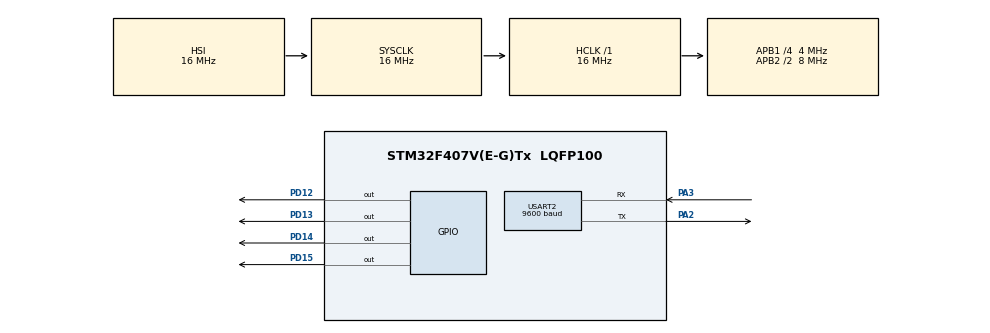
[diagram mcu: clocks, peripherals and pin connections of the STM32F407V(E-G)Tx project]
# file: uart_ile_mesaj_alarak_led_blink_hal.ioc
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Mcu.Family=STM32F4
Mcu.Name=STM32F407V(E-G)Tx
Mcu.Package=LQFP100
NVIC.PriorityGroup=NVIC_PRIORITYGROUP_0
PA2.Mode=Asynchronous
PA2.Signal=USART2_TX
PA3.Mode=Asynchronous
PA3.Signal=USART2_RX
PD12.Signal=GPIO_Output
PD13.Signal=GPIO_Output
PD14.Signal=GPIO_Output
PD15.Signal=GPIO_Output
ProjectManager.HeapSize=0x200
ProjectManager.StackSize=0x400
ProjectManager.TargetToolchain=STM32CubeIDE
RCC.48MHZClocksFreq_Value=14285714.285714285
RCC.AHBFreq_Value=16000000
RCC.APB1CLKDivider=RCC_HCLK_DIV4
RCC.APB1Freq_Value=4000000
RCC.APB1TimFreq_Value=8000000
RCC.APB2CLKDivider=RCC_HCLK_DIV2
RCC.APB2Freq_Value=8000000
RCC.APB2TimFreq_Value=16000000
RCC.CortexFreq_Value=16000000
RCC.HCLKFreq_Value=16000000
RCC.HSE_VALUE=8000000
RCC.HSI_VALUE=16000000
RCC.PLLM=8
RCC.PLLN=50
RCC.PLLQ=7
RCC.SYSCLKFreq_VALUE=16000000
RCC.VCOOutputFreq_Value=100000000
USART2.BaudRate=9600
USART2.VirtualMode=VM_ASYNC
board=STM32F407G-DISC1

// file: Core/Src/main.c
/* USER CODE BEGIN Header */
/**
  ******************************************************************************
  * @file           : main.c
  * @brief          : Main program body
  ******************************************************************************
  * @attention
  *
  * Copyright (c) 2022 STMicroelectronics.
  * All rights reserved.
  *
  * This software is licensed under terms that can be found in the LICENSE file
  * in the root directory of this software component.
  * If no LICENSE file comes with this software, it is provided AS-IS.
  *
  ******************************************************************************
  */
/* USER CODE END Header */
#include "main.h"

UART_HandleTypeDef huart2;

/* USER CODE BEGIN PV */
char rx_buff[20];
/* USER CODE END PV */

void SystemClock_Config(void);
static void MX_GPIO_Init(void);
static void MX_USART2_UART_Init(void);

int main(void)
{

  /* MCU Configuration--------------------------------------------------------*/

  /* Reset of all peripherals, Initializes the Flash interface and the Systick. */
  HAL_Init();

  /* Configure the system clock */
  SystemClock_Config();

  /* Initialize all configured peripherals */
  MX_GPIO_Init();
  MX_USART2_UART_Init();

  /* Infinite loop */
  while (1)
  {

    /* USER CODE BEGIN 3 */
	  HAL_UART_Receive(&huart2, (uint8_t*)rx_buff, 20, 100);

	  if(rx_buff[0] == 'l' && rx_buff[0] == 'e' && rx_buff[0] == 'd' &&
			  rx_buff[0] == '1' && rx_buff[0] == ' ' && rx_buff[0] == 'o' &&
			  rx_buff[0] == 'n' ){
		  HAL_GPIO_WritePin(GPIOD, GPIO_PIN_12, GPIO_PIN_SET);
	  }
	  else if(rx_buff[0] == 'l' && rx_buff[0] == 'e' && rx_buff[0] == 'd' &&
	  			  rx_buff[0] == '2' && rx_buff[0] == ' ' && rx_buff[0] == 'o' &&
	  			  rx_buff[0] == 'n' ){
	  		  HAL_GPIO_WritePin(GPIOD, GPIO_PIN_13, GPIO_PIN_SET);
	  	  }
	  else if(rx_buff[0] == 'l' && rx_buff[0] == 'e' && rx_buff[0] == 'd' &&
	  			  rx_buff[0] == '3' && rx_buff[0] == ' ' && rx_buff[0] == 'o' &&
	  			  rx_buff[0] == 'n' ){
	  		  HAL_GPIO_WritePin(GPIOD, GPIO_PIN_14, GPIO_PIN_SET);
	  	  }
	  else if(rx_buff[0] == 'l' && rx_buff[0] == 'e' && rx_buff[0] == 'd' &&
	  			  rx_buff[0] == '4' && rx_buff[0] == ' ' && rx_buff[0] == 'o' &&
	  			  rx_buff[0] == 'n' ){
	  		  HAL_GPIO_WritePin(GPIOD, GPIO_PIN_15, GPIO_PIN_SET);
	  	  }
	  else{
		  HAL_GPIO_WritePin(GPIOD, GPIO_PIN_12 | GPIO_PIN_13 | GPIO_PIN_14 | GPIO_PIN_15, GPIO_PIN_RESET);

	  }

  }
  /* USER CODE END 3 */
}

void SystemClock_Config(void)
{
  RCC_OscInitTypeDef RCC_OscInitStruct = {0};
  RCC_ClkInitTypeDef RCC_ClkInitStruct = {0};

  /** Configure the main internal regulator output voltage
  */
  __HAL_RCC_PWR_CLK_ENABLE();
  __HAL_PWR_VOLTAGESCALING_CONFIG(PWR_REGULATOR_VOLTAGE_SCALE1);
  /** Initializes the RCC Oscillators according to the specified parameters
  * in the RCC_OscInitTypeDef structure.
  */
  RCC_OscInitStruct.OscillatorType = RCC_OSCILLATORTYPE_HSI;
  RCC_OscInitStruct.HSIState = RCC_HSI_ON;
  RCC_OscInitStruct.HSICalibrationValue = RCC_HSICALIBRATION_DEFAULT;
  RCC_OscInitStruct.PLL.PLLState = RCC_PLL_NONE;
  if (HAL_RCC_OscConfig(&RCC_OscInitStruct) != HAL_OK)
  {
    Error_Handler();
  }
  /** Initializes the CPU, AHB and APB buses clocks
  */
  RCC_ClkInitStruct.ClockType = RCC_CLOCKTYPE_HCLK|RCC_CLOCKTYPE_SYSCLK
                              |RCC_CLOCKTYPE_PCLK1|RCC_CLOCKTYPE_PCLK2;
  RCC_ClkInitStruct.SYSCLKSource = RCC_SYSCLKSOURCE_HSI;
  RCC_ClkInitStruct.AHBCLKDivider = RCC_SYSCLK_DIV1;
  RCC_ClkInitStruct.APB1CLKDivider = RCC_HCLK_DIV4;
  RCC_ClkInitStruct.APB2CLKDivider = RCC_HCLK_DIV2;

  if (HAL_RCC_ClockConfig(&RCC_ClkInitStruct, FLASH_LATENCY_0) != HAL_OK)
  {
    Error_Handler();
  }
}

static void MX_USART2_UART_Init(void)
{

  huart2.Instance = USART2;
  huart2.Init.BaudRate = 9600;
  huart2.Init.WordLength = UART_WORDLENGTH_8B;
  huart2.Init.StopBits = UART_STOPBITS_1;
  huart2.Init.Parity = UART_PARITY_NONE;
  huart2.Init.Mode = UART_MODE_TX_RX;
  huart2.Init.HwFlowCtl = UART_HWCONTROL_NONE;
  huart2.Init.OverSampling = UART_OVERSAMPLING_16;
  if (HAL_UART_Init(&huart2) != HAL_OK)
  {
    Error_Handler();
  }

}

static void MX_GPIO_Init(void)
{
  GPIO_InitTypeDef GPIO_InitStruct = {0};

  /* GPIO Ports Clock Enable */
  __HAL_RCC_GPIOA_CLK_ENABLE();
  __HAL_RCC_GPIOD_CLK_ENABLE();

  /*Configure GPIO pin Output Level */
  HAL_GPIO_WritePin(GPIOD, GPIO_PIN_12|GPIO_PIN_13|GPIO_PIN_14|GPIO_PIN_15, GPIO_PIN_RESET);

  /*Configure GPIO pins : PD12 PD13 PD14 PD15 */
  GPIO_InitStruct.Pin = GPIO_PIN_12|GPIO_PIN_13|GPIO_PIN_14|GPIO_PIN_15;
  GPIO_InitStruct.Mode = GPIO_MODE_OUTPUT_PP;
  GPIO_InitStruct.Pull = GPIO_NOPULL;
  GPIO_InitStruct.Speed = GPIO_SPEED_FREQ_LOW;
  HAL_GPIO_Init(GPIOD, &GPIO_InitStruct);

}

void Error_Handler(void)
{
  __disable_irq();
  while (1)
  {
  }
}
